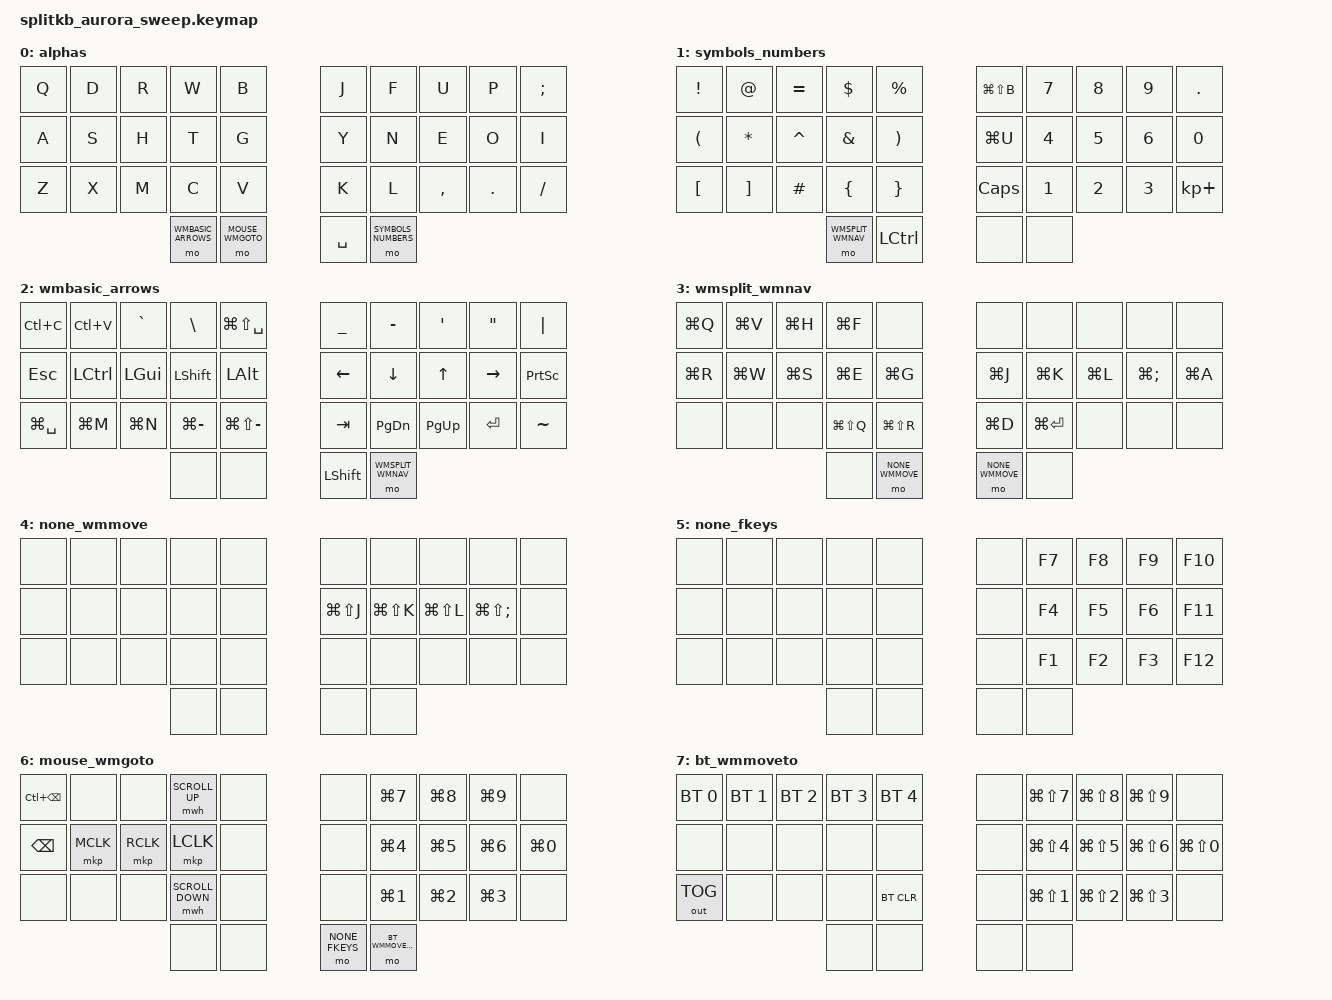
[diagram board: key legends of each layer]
/*
 * Copyright (c) 2022 The ZMK Contributors
 *
 * SPDX-License-Identifier: MIT
 */

#include <behaviors.dtsi>
#include <dt-bindings/zmk/keys.h>
#include <dt-bindings/zmk/bt.h> 
#include <dt-bindings/zmk/mouse.h>
#include <dt-bindings/zmk/outputs.h>

#define ALPHAS 0
#define SYMBOLS_NUMBERS 1
#define WMBASIC_ARROWS  2
#define WMSPLIT_WMNAV   3
#define NONE_WMMOVE     4
#define NONE_FKEYS      5
#define MOUSE_WMGOTO    6
#define BT_WMMOVETO     7

/ { 

        keymap {
            compatible = "zmk,keymap";

       		alphas {
                bindings = <
                    &kp Q              &kp D &kp R &kp W &kp B 	 &kp J   &kp F &kp U    &kp P   &kp SEMICOLON 
                    &kp A              &kp S &kp H &kp T &kp G 	 &kp Y   &kp N &kp E    &kp O   &kp I
                    &kp Z              &kp X &kp M &kp C &kp V	 &kp K   &kp L &kp CMMA &kp DOT &kp SLASH
                    &mo WMBASIC_ARROWS &mo MOUSE_WMGOTO          &kp SPC &mo SYMBOLS_NUMBERS  
                    >;
            };

            symbols_numbers {
                bindings = <
                    &kp EXCL          &kp AT       &kp EQUAL &kp DOLLAR &kp PERCENT   &kp LG(LS(B)) &kp NUM_7 &kp NUM_8 &kp NUM_9 &kp DOT 
                    &kp LPAR          &kp ASTERISK &kp CARET &kp AMPS   &kp RPAR 	  &kp LG(U)     &kp NUM_4 &kp NUM_5 &kp NUM_6 &kp NUM_0 
                    &kp LBKT          &kp RBKT 	   &kp HASH  &kp LBRC   &kp RBRC 	  &kp CAPS      &kp NUM_1 &kp NUM_2 &kp NUM_3 &kp KP_PLUS 
                    &mo WMSPLIT_WMNAV &kp LCTRL  					                  &none         &none 
                    >;
            };
		
            wmbasic_arrows {
                bindings = <
                    &kp LC(C)     &kp LC(V) &kp GRAVE &kp BACKSLASH &kp LG(LS(SPACE))   &kp UNDERSCORE &kp MINUS &kp SQT   &kp DQT   &kp PIPE
                    &kp ESC       &kp LCTRL &kp LGUI  &kp LSHIFT    &kp LALT  			&kp LEFT       &kp DOWN  &kp UP    &kp RIGHT &kp PSCRN 
                    &kp LG(SPACE) &kp LG(M) &kp LG(N) &kp LG(MINUS) &kp LG(LS(MINUS))   &kp TAB        &kp PG_DN &kp PG_UP &kp ENTER &kp TILDE   
                    &none         &none  					                            &kp LSHIFT     &mo WMSPLIT_WMNAV
                    >;
            };	

            wmsplit_wmnav {
                bindings = <
                    &kp LG(Q) &kp LG(V) &kp LG(H) &kp LG(F)     &none 			&none           &none          &none     &none             &none
                    &kp LG(R) &kp LG(W) &kp LG(S) &kp LG(E)     &kp LG(G)  		&kp LG(J)       &kp LG(K)      &kp LG(L) &kp LG(SEMICOLON) &kp LG(A)
                    &none     &none     &none     &kp LG(LS(Q)) &kp LG(LS(R))   &kp LG(D)       &kp LG(RETURN) &none     &none             &none
                    &none     &mo NONE_WMMOVE  					                &mo NONE_WMMOVE &none
                    >;
            };	

            none_wmmove {
                bindings = <
                    &none &none &none &none &none 	  &none	        &none         &none         &none                 &none
                    &none &none &none &none &none 	  &kp LG(LS(J)) &kp LG(LS(K)) &kp LG(LS(L)) &kp LG(LS(SEMICOLON)) &none
                    &none &none &none &none &none 	  &none	        &none         &none         &none                 &none
                    &none &none  	                  &none         &none
                    >;
            };	

            none_fkeys {
                bindings = <
                    &none &none &none &none &none 	&none &kp F7 &kp F8 &kp F9 &kp F10
                    &none &none &none &none &none 	&none &kp F4 &kp F5 &kp F6 &kp F11
                    &none &none &none &none &none 	&none &kp F1 &kp F2 &kp F3 &kp F12
                    &none &none  					&none &none
                    >;
            };	

            mouse_wmgoto {
                bindings = <
                    &kp LC(BACKSPACE) &none     &none     &mwh SCROLL_UP   &none    &none          &kp LG(NUM_7) &kp LG(NUM_8) &kp LG(NUM_9) &none
                    &kp BACKSPACE     &mkp MCLK &mkp RCLK &mkp LCLK        &none 	&none          &kp LG(NUM_4) &kp LG(NUM_5) &kp LG(NUM_6) &kp LG(NUM_0)
                    &none             &none     &none     &mwh SCROLL_DOWN &none 	&none          &kp LG(NUM_1) &kp LG(NUM_2) &kp LG(NUM_3) &none
                    &none             &none  					                    &mo NONE_FKEYS &mo BT_WMMOVETO
                    >;
            };	

            bt_wmmoveto {
                bindings = <
                    &bt BT_SEL 0 &bt BT_SEL 1 &bt BT_SEL 2 &bt BT_SEL 3 &bt BT_SEL 4   &none &kp LG(LS(NUM_7)) &kp LG(LS(NUM_8)) &kp LG(LS(NUM_9)) &none
                    &none        &none        &none        &none        &none 		   &none &kp LG(LS(NUM_4)) &kp LG(LS(NUM_5)) &kp LG(LS(NUM_6)) &kp LG(LS(NUM_0))
                    &out OUT_TOG &none        &none        &none        &bt BT_CLR 	   &none &kp LG(LS(NUM_1)) &kp LG(LS(NUM_2)) &kp LG(LS(NUM_3)) &none
                    &none        &none  					                           &none &none
                    >;
            };	
        };
};
